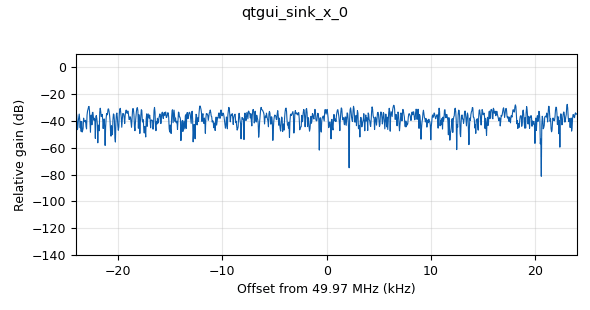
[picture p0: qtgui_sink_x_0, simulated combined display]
options:
  parameters:
    generate_options: qt_gui
    id: echoSim
    output_language: python
    title: Not titled yet
  states: {}

blocks:
- name: freq
  id: variable
  parameters:
    value: '49970000'
  states: {}
- name: samp_rate
  id: variable
  parameters:
    value: '48000'
  states: {}
- name: analog_noise_source_x_0
  id: analog_noise_source_x
  parameters:
    amp: '1'
    noise_type: analog.GR_GAUSSIAN
    seed: '0'
    type: complex
  states: {}
- name: analog_sig_source_x_0
  id: analog_sig_source_x
  parameters:
    amp: '1'
    freq: '0'
    offset: '0'
    phase: '0'
    samp_rate: samp_rate
    type: float
    waveform: analog.GR_COS_WAVE
  states: {state: disabled}
- name: analog_sig_source_x_0_0
  id: analog_sig_source_x
  parameters:
    amp: '1'
    freq: '0'
    offset: '0'
    phase: '0'
    samp_rate: samp_rate
    type: float
    waveform: analog.GR_SIN_WAVE
  states: {state: disabled}
- name: analog_sig_source_x_0_1
  id: analog_sig_source_x
  parameters:
    amp: '1'
    freq: freq
    offset: '0'
    phase: '0'
    samp_rate: samp_rate
    type: complex
    waveform: analog.GR_COS_WAVE
  states: {}
- name: blocks_add_xx_0
  id: blocks_add_xx
  parameters:
    type: complex
  states: {}
- name: blocks_float_to_complex_0
  id: blocks_float_to_complex
  parameters: {}
  states: {state: disabled}
- name: epy_block_0
  id: epy_block
  parameters:
    _source_code: |
      import numpy as np
      from gnuradio import gr

      class blk(gr.sync_block):
          """Meteor echo envelope + Doppler modulator"""

          def __init__(self, samp_rate=48000, avg_rate=8.0,
                       tau_min=0.05, tau_max=0.8,
                       doppler_max=400.0, snr_db=15.0):
              gr.sync_block.__init__(
                  self,
                  name='Meteor Echo Simulator',
                  in_sig=[np.complex64],
                  out_sig=[np.complex64]
              )
              self.samp_rate  = samp_rate
              self.avg_rate   = avg_rate        # meteors per hour (background)
              self.tau_min    = tau_min         # shortest decay, seconds
              self.tau_max    = tau_max         # longest decay, seconds
              self.doppler_max = doppler_max    # max Doppler shift, Hz
              self.gain_lin   = 10 ** (snr_db / 20.0)

              # State
              self._env       = 0.0            # current envelope amplitude
              self._phase     = 0.0            # accumulated Doppler phase
              self._dphi      = 0.0            # phase increment per sample
              self._decay     = 0.0            # per-sample decay factor
              self._next_event = self._draw_interval()

          def _draw_interval(self):
              """Exponential inter-arrival time (Poisson process)."""
              rate_per_sec = self.avg_rate / 3600.0
              return int(np.random.exponential(1.0 / rate_per_sec) * self.samp_rate)

          def _new_meteor(self):
              tau      = np.random.uniform(self.tau_min, self.tau_max)
              doppler  = np.random.uniform(-self.doppler_max, self.doppler_max)
              self._decay = np.exp(-1.0 / (tau * self.samp_rate))
              self._dphi  = 2 * np.pi * doppler / self.samp_rate
              self._env   = self.gain_lin      # peak amplitude
              self._phase = np.random.uniform(0, 2 * np.pi)  # random initial phase

          def work(self, input_items, output_items):
              inp = input_items[0]
              out = output_items[0]
              n   = len(inp)

              for i in range(n):
                  # Countdown to next meteor
                  self._next_event -= 1
                  if self._next_event <= 0:
                      self._new_meteor()
                      self._next_event = self._draw_interval()

                  # Build modulating phasor: envelope × Doppler
                  mod = self._env * np.exp(1j * self._phase)
                  out[i] = inp[i] * mod

                  # Decay the envelope, advance the phase
                  self._env   *= self._decay
                  self._phase += self._dphi

              return n
    avg_rate: '8.0'
    doppler_max: '400.0'
    samp_rate: samp_rate
    snr_db: '40'
    tau_max: '0.8'
    tau_min: '0.05'
  states: {}
- name: qtgui_sink_x_0
  id: qtgui_sink_x
  parameters:
    bw: samp_rate
    fc: freq
    fftsize: '1024'
    plotconst: 'False'
    plotfreq: 'False'
    plottime: 'False'
    showrf: 'True'
    type: complex
  states: {}
- name: qtgui_waterfall_sink_x_0
  id: qtgui_waterfall_sink_x
  parameters:
    bw: samp_rate
    fc: '0'
    fftsize: '1024'
    int_max: '0'
    int_min: '-60'
    type: complex
  states: {state: disabled}

connections:
- [analog_noise_source_x_0, '0', blocks_add_xx_0, '1']
- [analog_sig_source_x_0, '0', blocks_float_to_complex_0, '0']
- [analog_sig_source_x_0_0, '0', blocks_float_to_complex_0, '1']
- [analog_sig_source_x_0_1, '0', epy_block_0, '0']
- [blocks_add_xx_0, '0', qtgui_sink_x_0, '0']
- [blocks_add_xx_0, '0', qtgui_waterfall_sink_x_0, '0']
- [blocks_float_to_complex_0, '0', epy_block_0, '0']
- [epy_block_0, '0', blocks_add_xx_0, '0']

metadata:
  file_format: 1
  grc_version: 3.10.12.0
